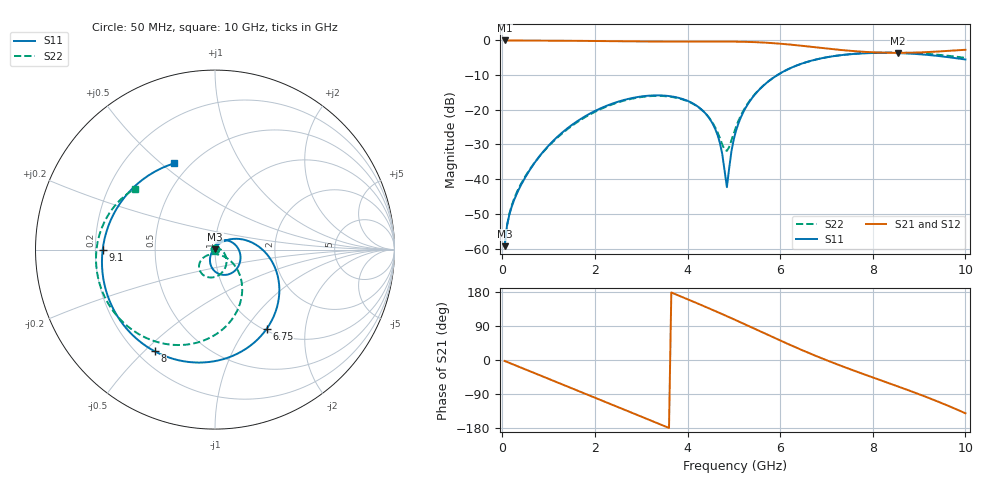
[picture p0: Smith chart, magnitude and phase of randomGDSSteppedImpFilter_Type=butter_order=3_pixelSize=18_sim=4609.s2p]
! freq	dB(S11)	phase(S11)	dB(S12)	phase(S12)
!  dB(S21)	phase(S21)	dB(S22)	phase(S22)
!S-par simulation data
#  GHz  S  DB  R 50
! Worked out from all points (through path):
!   200 points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, 50 MHz to 10 GHz, reference 50 ohm
!   highest |S21| = -0.01 dB at 50 MHz (marker M1); lowest = -3.6 dB at 8.55 GHz (marker M2)
!   group delay of S21, straight-line fit = 141 ps
!   lowest |S11| = -59.3 dB at 50 MHz (marker M3), VSWR 1.00, Z = 50 + j0.107 ohm
!   |S11| at or under -10 dB: start of sweep to 5.939 GHz
!   |S22| runs from -59.3 to -3.5 dB; largest |S21 - S12| = 0
!   S11 on the Smith chart (normalised r, x): 50 MHz: 1.00, +0.00; 6.75 GHz: 1.03, -1.26; 8 GHz: 0.27, -0.54; 9.1 GHz: 0.23, -0.00; 10 GHz: 0.41, +0.55
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0.05  -59.32 82.7  -0.01 -2.5  -0.01 -2.5  -59.31 77.5
0.2  -48.05 84.4  -0.02 -10.0  -0.02 -10.0  -47.72 61.7
0.5  -39.37 88.8  -0.03 -24.9  -0.03 -24.9  -39.11 35.8
1.15  -28.28 71.3  -0.07 -57.1  -0.07 -57.1  -28.50 -5.5
1.75  -22.18 41.9  -0.13 -87.0  -0.13 -87.0  -22.44 -35.1
2.5  -17.66 1.1  -0.22 -124.4  -0.22 -124.4  -17.87 -68.8
3.4  -15.84 -48.6  -0.33 -169.3  -0.33 -169.3  -15.99 -107.6
4.45  -22.07 -109.9  -0.32 137.0  -0.32 137.0  -22.00 -145.1
4.7  -29.60 -131.7  -0.32 123.7  -0.32 123.7  -28.18 -135.1
4.85  -42.31 138.1  -0.33 115.6  -0.33 115.6  -31.87 -86.5
4.95  -31.79 63.8  -0.34 110.2  -0.34 110.2  -28.71 -51.5
5.05  -25.90 49.6  -0.35 104.7  -0.35 104.7  -24.79 -38.9
5.65  -12.89 7.4  -0.61 71.2  -0.61 71.2  -12.85 -49.8
6.2  -8.11 -25.7  -1.18 40.7  -1.18 40.7  -8.12 -75.1
6.7  -5.74 -54.0  -1.88 14.4  -1.88 14.4  -5.76 -98.2
6.75  -5.57 -56.7  -1.96 11.8  -1.96 11.8  -5.59 -100.4
7.4  -4.12 -90.6  -2.86 -19.3  -2.86 -19.3  -4.10 -127.9
8  -3.63 -120.6  -3.42 -46.0  -3.42 -46.0  -3.55 -150.8
8.35  -3.60 -138.3  -3.56 -61.3  -3.56 -61.3  -3.47 -163.4
8.55  -3.65 -148.8  -3.58 -70.0  -3.58 -70.0  -3.50 -170.4
9.1  -4.07 -179.9  -3.41 -95.0  -3.41 -95.0  -3.80 170.9
10  -5.49 115.3  -2.69 -140.6  -2.69 -140.6  -5.03 142.7
